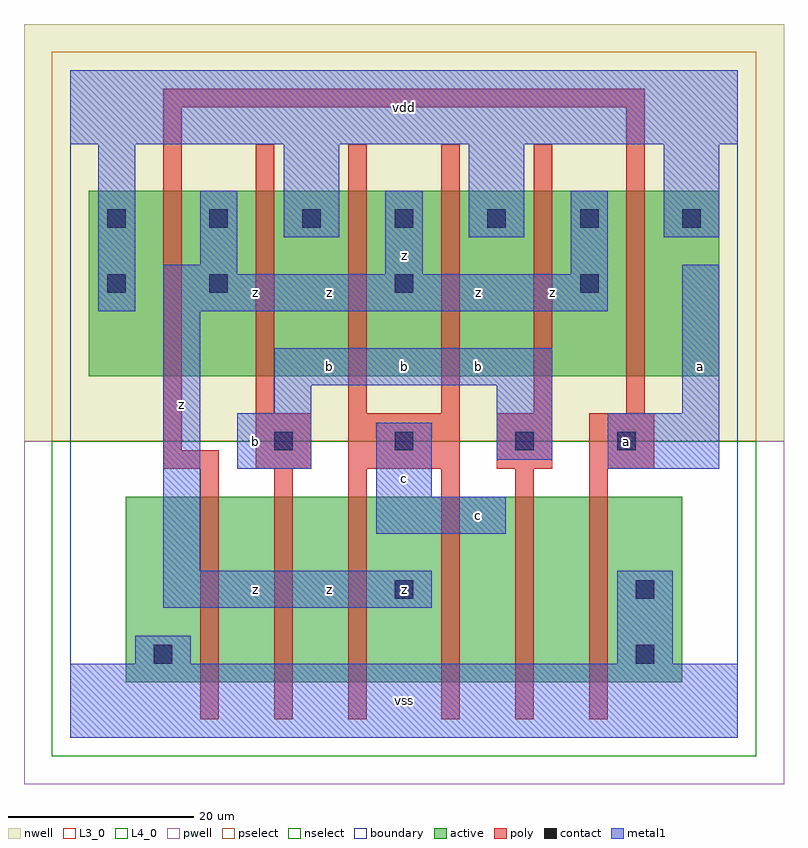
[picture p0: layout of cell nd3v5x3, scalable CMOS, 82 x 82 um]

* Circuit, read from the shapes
.subckt nd3v5x3 a b c vdd vss z
M1 n1 a vss VSUBS nfet w=20u l=2u
M2 n2 b n1 VSUBS nfet w=20u l=2u
M3 z c n2 VSUBS nfet w=20u l=2u
M4 n3 c z VSUBS nfet w=20u l=2u
M5 n4 b n3 VSUBS nfet w=20u l=2u
M6 vss a n4 VSUBS nfet w=20u l=2u
M7 z a vdd n5 pfet w=20u l=2u m=2
M8 vdd b z n5 pfet w=20u l=2u m=2
M9 z c vdd n5 pfet w=20u l=2u m=2
.ends

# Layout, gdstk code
import gdstk
lib = gdstk.Library(unit=1e-6, precision=1e-09)
def R(c, l, rs):  # rectangles x0, y0, x1, y1
    for r in rs: c.add(gdstk.rectangle(r[:2], r[2:], *l))
def A(c, l, x, y, w, h, nx, ny, dx, dy):  # array of equal rectangles
    R(c, l, [(x+i*dx, y+j*dy, x+i*dx+w, y+j*dy+h) for i in range(nx) for j in range(ny)])
L3_0 = (3, 0)
L4_0 = (4, 0)
contact = (25, 0)
pwell = (41, 0)
nwell = (42, 0)
active = (43, 0)
pselect = (44, 0)
nselect = (45, 0)
poly = (46, 0)
metal1 = (49, 0)
boundary = (63, 0)

nd3v5x3 = lib.new_cell('nd3v5x3')
R(nd3v5x3, L3_0, [(6,6,66,26)])
R(nd3v5x3, L4_0, [(2,39,70,59)])
A(nd3v5x3, contact, 22, 31, 2, 2, 3, 1, 13, 0)
A(nd3v5x3, contact, 15, 48, 2, 2, 3, 1, 20, 0)
A(nd3v5x3, contact, 15, 55, 2, 2, 5, 1, 10, 0)
R(nd3v5x3, contact, [(9,8,11,10), (61,8,63,10), (35,15,37,17), (61,15,63,17), (59,31,61,33), (4,48,6,50), (4,55,6,57), (66,55,68,57)])
R(nd3v5x3, pwell, [(-5,-5,77,32)])
R(nd3v5x3, nwell, [(-5,32,77,77)])
R(nd3v5x3, active, [(6,6,66,26), (2,39,70,59)])
R(nd3v5x3, pselect, [(-2,32,74,74)])
R(nd3v5x3, nselect, [(-2,-2,74,32)])
A(nd3v5x3, poly, 14, 2, 2, 27, 3, 1, 8, 0)
A(nd3v5x3, poly, 40, 2, 2, 27, 3, 1, 8, 0)
A(nd3v5x3, poly, 20, 35, 2, 29, 4, 1, 10, 0)
R(nd3v5x3, poly, [(10,29,16,31), (20,29,26,35), (30,29,42,35), (46,29,52,35), (56,29,63,35), (10,31,12,68), (60,35,62,68), (10,68,62,70)])
R(nd3v5x3, metal1, [(0,0,72,8), (7,8,13,11), (59,8,65,18), (10,14,39,18), (10,18,14,46), (33,22,47,26), (33,26,39,34), (18,29,26,35), (58,29,70,35), (46,30,52,38), (22,35,26,38), (66,35,70,51), (22,38,52,42), (3,46,7,64), (10,46,58,50), (10,50,18,51), (34,50,38,59), (54,50,58,59), (14,51,18,59), (23,54,29,64), (43,54,49,64), (64,54,70,64), (0,64,72,72)])
R(nd3v5x3, boundary, [(0,0,72,72)])
nd3v5x3.add(gdstk.Label('z', (12,36), layer=49, texttype=0))
nd3v5x3.add(gdstk.Label('z', (28,16), layer=49, texttype=0))
nd3v5x3.add(gdstk.Label('z', (20,16), layer=49, texttype=0))
nd3v5x3.add(gdstk.Label('b', (20,32), layer=49, texttype=0))
nd3v5x3.add(gdstk.Label('b', (28,40), layer=49, texttype=0))
nd3v5x3.add(gdstk.Label('z', (20,48), layer=49, texttype=0))
nd3v5x3.add(gdstk.Label('z', (28,48), layer=49, texttype=0))
nd3v5x3.add(gdstk.Label('vss', (36,4), layer=49, texttype=0))
nd3v5x3.add(gdstk.Label('z', (36,16), layer=49, texttype=0))
nd3v5x3.add(gdstk.Label('c', (36,28), layer=49, texttype=0))
nd3v5x3.add(gdstk.Label('c', (44,24), layer=49, texttype=0))
nd3v5x3.add(gdstk.Label('b', (44,40), layer=49, texttype=0))
nd3v5x3.add(gdstk.Label('b', (36,40), layer=49, texttype=0))
nd3v5x3.add(gdstk.Label('z', (36,52), layer=49, texttype=0))
nd3v5x3.add(gdstk.Label('z', (52,48), layer=49, texttype=0))
nd3v5x3.add(gdstk.Label('z', (44,48), layer=49, texttype=0))
nd3v5x3.add(gdstk.Label('vdd', (36,68), layer=49, texttype=0))
nd3v5x3.add(gdstk.Label('a', (60,32), layer=49, texttype=0))
nd3v5x3.add(gdstk.Label('a', (68,40), layer=49, texttype=0))

lib.write_gds('nd3v5x3.gds')
